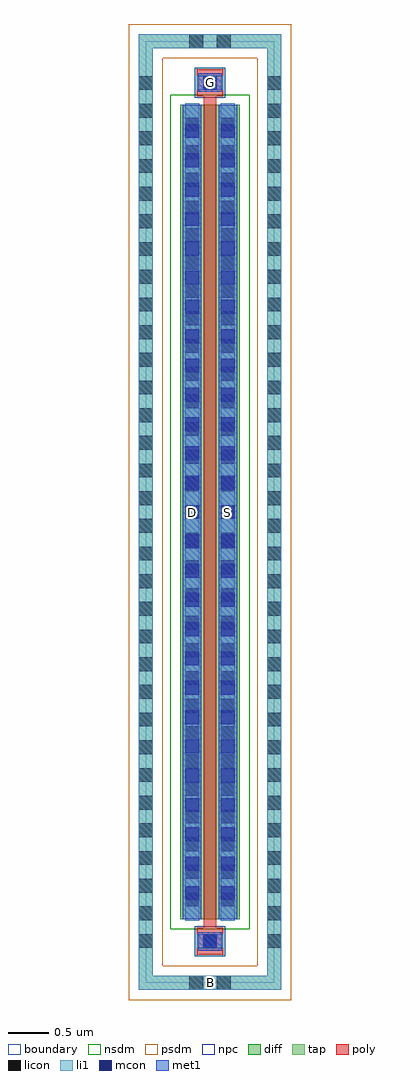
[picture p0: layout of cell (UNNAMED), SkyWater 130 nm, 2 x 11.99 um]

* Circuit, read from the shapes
.subckt (UNNAMED) B D G S
XM1 S G D B sky130_fd_pr__nfet_01v8 w=10 l=0.15
.ends

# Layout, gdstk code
import gdstk
lib = gdstk.Library(unit=1e-6, precision=1e-09)
def R(c, l, rs):  # rectangles x0, y0, x1, y1
    for r in rs: c.add(gdstk.rectangle(r[:2], r[2:], *l))
def A(c, l, x, y, w, h, nx, ny, dx, dy):  # array of equal rectangles
    R(c, l, [(x+i*dx, y+j*dy, x+i*dx+w, y+j*dy+h) for i in range(nx) for j in range(ny)])
diff = (65, 20)
tap = (65, 44)
poly = (66, 20)
licon = (66, 44)
li1 = (67, 20)
mcon = (67, 44)
met1 = (68, 20)
nsdm = (93, 44)
psdm = (94, 20)
npc = (95, 20)
boundary = (235, 4)

c__unnamed_ = lib.new_cell('(UNNAMED)')
R(c__unnamed_, diff, [(-0.365,-5,0.365,5)])
R(c__unnamed_, tap, [(-0.875,-5.87,0.875,-5.7), (-0.875,-5.7,-0.705,5.7), (0.705,-5.7,0.875,5.7), (-0.875,5.7,0.875,5.87)])
R(c__unnamed_, poly, [(-0.165,-5.44,0.165,-5.11), (-0.075,-5.11,0.075,5.11), (-0.165,5.11,0.165,5.44)])
A(c__unnamed_, licon, -0.875, -5.355, 0.17, 0.17, 1, 32, 0, 0.34)
A(c__unnamed_, licon, 0.705, -5.355, 0.17, 0.17, 1, 32, 0, 0.34)
A(c__unnamed_, licon, -0.305, -4.845, 0.17, 0.17, 1, 29, 0, 0.34)
A(c__unnamed_, licon, 0.135, -4.845, 0.17, 0.17, 1, 29, 0, 0.34)
R(c__unnamed_, licon, [(-0.255,-5.87,-0.085,-5.7), (0.085,-5.87,0.255,-5.7), (-0.085,-5.36,0.085,-5.19), (-0.085,5.19,0.085,5.36), (-0.255,5.7,-0.085,5.87), (0.085,5.7,0.255,5.87)])
R(c__unnamed_, li1, [(-0.875,-5.87,0.875,-5.7), (-0.875,-5.7,-0.705,5.7), (0.705,-5.7,0.875,5.7), (-0.165,-5.36,0.165,-5.19), (-0.305,-5.02,-0.135,5.02), (0.135,-5.02,0.305,5.02), (-0.165,5.19,0.165,5.36), (-0.875,5.7,0.875,5.87)])
A(c__unnamed_, mcon, -0.305, -4.765, 0.17, 0.17, 1, 27, 0, 0.36)
A(c__unnamed_, mcon, 0.135, -4.765, 0.17, 0.17, 1, 27, 0, 0.36)
R(c__unnamed_, mcon, [(-0.085,-5.36,0.085,-5.19), (-0.085,5.19,0.085,5.36)])
R(c__unnamed_, met1, [(-0.145,-5.39,0.145,-5.16), (-0.335,-5,-0.105,5), (0.105,-5,0.335,5), (-0.145,5.16,0.145,5.39)])
R(c__unnamed_, nsdm, [(-0.49,-5.125,0.49,5.125)])
R(c__unnamed_, psdm, [(-1,-5.995,1,-5.575), (-1,-5.575,-0.58,5.575), (0.58,-5.575,1,5.575), (-1,5.575,1,5.995)])
R(c__unnamed_, npc, [(-0.185,-5.46,0.185,-5.09), (-0.185,5.09,0.185,5.46)])
R(c__unnamed_, boundary, [(-0.79,-5.785,0.79,5.785)])
c__unnamed_.add(gdstk.Label('B', (0,-5.785), layer=67, texttype=5))
c__unnamed_.add(gdstk.Label('D', (-0.22,0), layer=67, texttype=5))
c__unnamed_.add(gdstk.Label('S', (0.22,0), layer=67, texttype=5))
c__unnamed_.add(gdstk.Label('G', (0,5.275), layer=67, texttype=5))

lib.write_gds('_UNNAMED_.gds')
